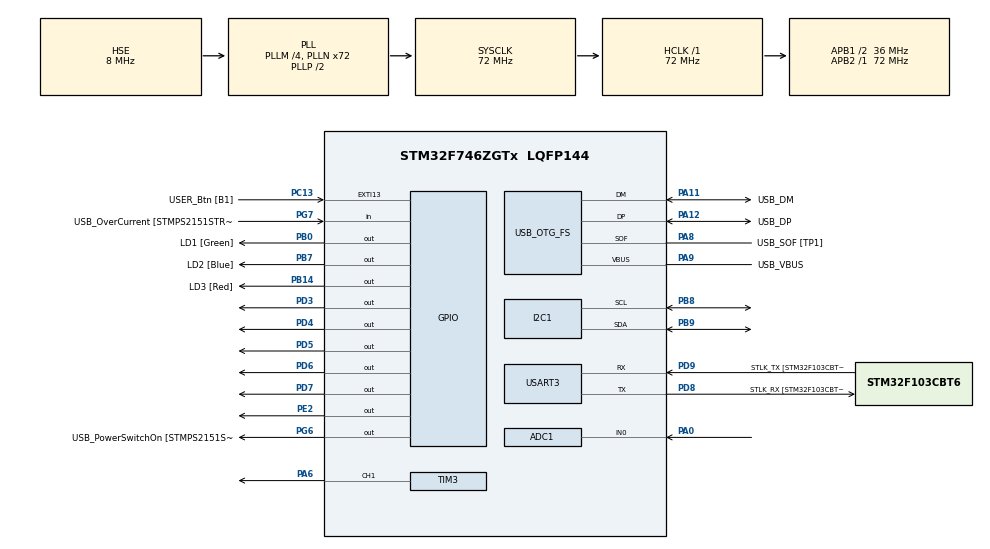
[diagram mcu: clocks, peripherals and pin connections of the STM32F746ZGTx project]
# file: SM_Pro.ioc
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ADC1.Channel-0\#ChannelRegularConversion=ADC_CHANNEL_0
ADC1.NbrOfConversionFlag=1
ADC1.Rank-0\#ChannelRegularConversion=1
ADC1.SamplingTime-0\#ChannelRegularConversion=ADC_SAMPLETIME_3CYCLES
ADC1.master=1
I2C1.Timing=0x00808CD2
Mcu.Family=STM32F7
Mcu.Name=STM32F746ZGTx
Mcu.Package=LQFP144
NVIC.ADC_IRQn=true\:0\:0\:false\:false\:true\:true\:true
NVIC.PriorityGroup=NVIC_PRIORITYGROUP_4
NVIC.TIM3_IRQn=true\:0\:0\:false\:false\:true\:true\:true
NVIC.TIM4_IRQn=true\:0\:0\:false\:false\:true\:true\:true
NVIC.USART3_IRQn=true\:0\:0\:false\:false\:true\:true\:true
PA0/WKUP.Signal=ADCx_IN0
PA1.GPIO_Label=RMII_REF_CLK [LAN8742A-CZ-TR_REFCLK0]
PA1.Signal=ETH_REF_CLK
PA10.GPIO_Label=USB_ID
PA10.Signal=USB_OTG_FS_ID
PA11.GPIO_Label=USB_DM
PA11.Mode=Device_Only
PA11.Signal=USB_OTG_FS_DM
PA12.GPIO_Label=USB_DP
PA12.Mode=Device_Only
PA12.Signal=USB_OTG_FS_DP
PA13.GPIO_Label=TMS
PA13.Mode=Serial_Wire
PA13.Signal=SYS_JTMS-SWDIO
PA14.GPIO_Label=TCK
PA14.Mode=Serial_Wire
PA14.Signal=SYS_JTCK-SWCLK
PA2.GPIO_Label=RMII_MDIO [LAN8742A-CZ-TR_MDIO]
PA2.Signal=ETH_MDIO
PA6.Signal=S_TIM3_CH1
PA7.GPIO_Label=RMII_CRS_DV [LAN8742A-CZ-TR_CRS_DV]
PA7.Signal=ETH_CRS_DV
PA8.GPIO_Label=USB_SOF [TP1]
PA8.Mode=Activate_SOF_FS
PA8.Signal=USB_OTG_FS_SOF
PA9.GPIO_Label=USB_VBUS
PA9.Mode=Activate_VBUS
PA9.Signal=USB_OTG_FS_VBUS
PB0.GPIO_Label=LD1 [Green]
PB0.Signal=GPIO_Output
PB13.GPIO_Label=RMII_TXD1 [LAN8742A-CZ-TR_TXD1]
PB13.Signal=ETH_TXD1
PB14.GPIO_Label=LD3 [Red]
PB14.Signal=GPIO_Output
PB3.GPIO_Label=SW0
PB3.Signal=SYS_JTDO-SWO
PB7.GPIO_Label=LD2 [Blue]
PB7.Signal=GPIO_Output
PB8.Mode=I2C
PB8.Signal=I2C1_SCL
PB9.Mode=I2C
PB9.Signal=I2C1_SDA
PC1.GPIO_Label=RMII_MDC [LAN8742A-CZ-TR_MDC]
PC1.Signal=ETH_MDC
PC13.GPIO_Label=USER_Btn [B1]
PC13.Signal=GPXTI13
PC14/OSC32_IN.Mode=LSE-External-Oscillator
PC14/OSC32_IN.Signal=RCC_OSC32_IN
PC15/OSC32_OUT.Mode=LSE-External-Oscillator
PC15/OSC32_OUT.Signal=RCC_OSC32_OUT
PC4.GPIO_Label=RMII_RXD0 [LAN8742A-CZ-TR_RXD0]
PC4.Signal=ETH_RXD0
PC5.GPIO_Label=RMII_RXD1 [LAN8742A-CZ-TR_RXD1]
PC5.Signal=ETH_RXD1
PD3.Signal=GPIO_Output
PD4.Signal=GPIO_Output
PD5.Signal=GPIO_Output
PD6.Signal=GPIO_Output
PD7.Signal=GPIO_Output
PD8.GPIO_Label=STLK_RX [STM32F103CBT6_PA3]
PD8.Mode=Asynchronous
PD8.Signal=USART3_TX
PD9.GPIO_Label=STLK_TX [STM32F103CBT6_PA2]
PD9.Mode=Asynchronous
PD9.Signal=USART3_RX
PE2.Signal=GPIO_Output
PG11.GPIO_Label=RMII_TX_EN [LAN8742A-CZ-TR_TXEN]
PG11.Signal=ETH_TX_EN
PG13.GPIO_Label=RMII_TXD0 [LAN8742A-CZ-TR_TXD0]
PG13.Signal=ETH_TXD0
PG6.GPIO_Label=USB_PowerSwitchOn [STMPS2151STR_EN]
PG6.Signal=GPIO_Output
PG7.GPIO_Label=USB_OverCurrent [STMPS2151STR_FAULT]
PG7.Signal=GPIO_Input
PH0/OSC_IN.GPIO_Label=MCO [STM32F103CBT6_PA8]
PH0/OSC_IN.Mode=HSE-External-Clock-Source
PH0/OSC_IN.Signal=RCC_OSC_IN
PH1/OSC_OUT.Mode=HSE-External-Clock-Source
PH1/OSC_OUT.Signal=RCC_OSC_OUT
ProjectManager.HeapSize=0x200
ProjectManager.StackSize=0x400
ProjectManager.TargetToolchain=STM32CubeIDE
RCC.48MHZClocksFreq_Value=24000000
RCC.AHBFreq_Value=72000000
RCC.APB1CLKDivider=RCC_HCLK_DIV2
RCC.APB1Freq_Value=36000000
RCC.APB1TimFreq_Value=72000000
RCC.APB2Freq_Value=72000000
RCC.APB2TimFreq_Value=72000000
RCC.CortexFreq_Value=72000000
RCC.HCLKFreq_Value=72000000
RCC.HSE_VALUE=8000000
RCC.HSI_VALUE=16000000
RCC.PLLM=4
RCC.PLLMUL=RCC_PLL_MUL9
RCC.PLLN=72
RCC.PLLQ=3
RCC.PRESCALERUSB=RCC_USBCLKSOURCE_PLL_DIV1_5
RCC.SYSCLKFreq_VALUE=72000000
RCC.SYSCLKSource=RCC_SYSCLKSOURCE_PLLCLK
RCC.SYSCLKSourceVirtual=RCC_SYSCLKSOURCE_PLLCLK
RCC.USBFreq_Value=48000000
RCC.VCOOutputFreq_Value=144000000
SH.ADCx_IN0.0=ADC1_IN0,IN0
SH.S_TIM3_CH1.0=TIM3_CH1,PWM Generation1 CH1
TIM3.Channel-PWM\ Generation1\ CH1=TIM_CHANNEL_1
TIM3.OCPolarity_1=TIM_OCPOLARITY_LOW
TIM3.Period=999
TIM3.Prescaler=71
TIM3.Pulse-PWM\ Generation1\ CH1=0
TIM4.ClockDivision=TIM_CLOCKDIVISION_DIV1
TIM4.Period=1000
TIM4.Prescaler=7199
TIM4.TIM_MasterOutputTrigger=TIM_TRGO_UPDATE
USART3.VirtualMode-Asynchronous=VM_ASYNC
USB_OTG_FS.VirtualMode=Device_Only
VP_TIM3_VS_ClockSourceINT.Mode=Internal
VP_TIM4_VS_ClockSourceINT.Mode=Internal
board=NUCLEO-F746ZG

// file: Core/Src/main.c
/* USER CODE BEGIN Header */
/**
  ******************************************************************************
  * @file           : main.c
  * @brief          : Main program body
  ******************************************************************************
  * @attention
  *
  * <h2><center>&copy; Copyright (c) 2022 STMicroelectronics.
  * All rights reserved.</center></h2>
  *
  * This software component is licensed by ST under BSD 3-Clause license,
  * the "License"; You may not use this file except in compliance with the
  * License. You may obtain a copy of the License at:
  *                        opensource.org/licenses/BSD-3-Clause
  *
  ******************************************************************************
  */
/* USER CODE END Header */
#include "main.h"

/* USER CODE BEGIN Includes */
#include "stdio.h"
#include <math.h>
#include "BMPXX80.h"
#include "PID.h"
#include "lcd.h"
/* USER CODE END Includes */

/* USER CODE BEGIN PM */
#define BMP_I2C 1
#define BMP_SPI 0
//#define BMP_CS_GPIO_Port GPIOB
//#define BMP_CS_Pin GPIO_PIN_9

#define COUNTOF(_BUFFER_) (sizeof((_BUFFER_))/sizeof(*(_BUFFER_)))
//#define temperature_resolution 1
/* USER CODE END PM */

ADC_HandleTypeDef hadc1;

I2C_HandleTypeDef hi2c1;

TIM_HandleTypeDef htim3;
TIM_HandleTypeDef htim4;

UART_HandleTypeDef huart3;

PCD_HandleTypeDef hpcd_USB_OTG_FS;

/* USER CODE BEGIN PV */

const uint8_t VAR_size = 7;
int AdcValue;
uint8_t VAR[7];// = 20;
float wanted_temp = 20;
float wanted_temp_UART = 20;
float wanted_adc = 20;
uint8_t bool = 0;
float temperature = 0;
int32_t pressure = 0;
int start = 0;// HAL_GetTick();
int stop = 0;
int time_past = 0;
PID_STRUCT PID;
Lcd_PortType ports[] = { GPIOD, GPIOD, GPIOD, GPIOD };
Lcd_PinType pins[] = {GPIO_PIN_4, GPIO_PIN_5, GPIO_PIN_6, GPIO_PIN_7};
Lcd_HandleTypeDef lcd;
/* USER CODE END PV */

void SystemClock_Config(void);
static void MX_GPIO_Init(void);
static void MX_USART3_UART_Init(void);
static void MX_USB_OTG_FS_PCD_Init(void);
static void MX_TIM3_Init(void);
static void MX_TIM4_Init(void);
static void MX_I2C1_Init(void);
static void MX_ADC1_Init(void);

/* USER CODE BEGIN 0 */
void convert()
{
	wanted_temp_UART = 0;
	uint8_t point  = 0;
	uint8_t point_num  = 0;
	for(uint8_t i = 0; i < VAR_size; i++)
	{
		if(VAR[i] == 101 )
			break;
		else if(VAR[i] == 44 || VAR[i] == 46)
		{
			point = 1;
			point_num = i;
		}
		else if(47 < VAR[i] && VAR[i] < 58)
		{
			if(point == 0)
				wanted_temp_UART = wanted_temp_UART*10 + (VAR[i]-48);
			else
				wanted_temp_UART = wanted_temp_UART + (VAR[i]-48)*pow(10,point_num-i);
		}
	}
}

float MAP_VALUE(float ValueInMin, float ValueInMax, float ValueOutMin, float ValueOutMax, int ValueIn)
{
	if(((float)ValueIn > ValueInMax )|| ((float)ValueIn< ValueInMin))
		return 0;
	else
		return ((ValueOutMax - ValueOutMin) * ((float)ValueIn - ValueInMin) / (ValueInMax - ValueInMin) + ValueOutMin);
}
/* USER CODE END 0 */

int main(void)
{

  /* MCU Configuration--------------------------------------------------------*/

  /* Reset of all peripherals, Initializes the Flash interface and the Systick. */
  HAL_Init();

  /* Configure the system clock */
  SystemClock_Config();

  /* USER CODE BEGIN SysInit */
//  BMP280_Init(&hi2c1, 1, 3, 2);
//  BMP280_Init(&hi2c1, 1, 3, 3);
  /* USER CODE END SysInit */

  /* Initialize all configured peripherals */
  MX_GPIO_Init();
  MX_USART3_UART_Init();
  MX_USB_OTG_FS_PCD_Init();
  MX_TIM3_Init();
  MX_TIM4_Init();
  MX_I2C1_Init();
  MX_ADC1_Init();
  /* USER CODE BEGIN 2 */
  BMP280_Init(&hi2c1, 1, 3, 1);
  HAL_TIM_PWM_Start(&htim3, TIM_CHANNEL_1);
  HAL_TIM_Base_Start_IT(&htim4);
  HAL_UART_Receive_IT(&huart3, VAR, VAR_size);
  PID_Init(&PID, 0.1,70, 0.1, 0.014);//60 0.02
//  HAL_ADCEx_Calibration_Start(&hadc1);

  lcd = Lcd_create(ports, pins, GPIOE, GPIO_PIN_2, GPIOD, GPIO_PIN_3, LCD_4_BIT_MODE);
  int btn_released = 0;
  int adc_UART= 0;
  /* USER CODE END 2 */

  /* Infinite loop */
  while (1)
     {
         if(HAL_GPIO_ReadPin(USER_Btn_GPIO_Port, USER_Btn_Pin) && btn_released == 0) //wciskasz i sprawdza czy został puszczony, wykona się raz aż puścisz
         {
        	 btn_released = 1;
        	 if(adc_UART == 0)
        		 adc_UART =1;
        	 else
        		 adc_UART = 0;
         }
         else if(!HAL_GPIO_ReadPin(USER_Btn_GPIO_Port, USER_Btn_Pin))
        	 btn_released = 0;

         HAL_ADC_Start(&hadc1);
         HAL_ADC_PollForConversion(&hadc1, HAL_MAX_DELAY);
         AdcValue = HAL_ADC_GetValue(&hadc1);
         float wanted_temp_adc = MAP_VALUE(0, 4095, 30, 60, AdcValue);

         if(adc_UART == 0)
			 wanted_temp = wanted_temp_UART;
		 else
			 wanted_temp = wanted_temp_adc;

         char disp[32];
         Lcd_cursor(&lcd, 0,0);
         Lcd_string(&lcd, "Temp : ");
         sprintf(disp, "%.2f",temperature);
         Lcd_cursor(&lcd, 0,9);
         Lcd_string(&lcd, disp);

         Lcd_cursor(&lcd, 1,0);
         Lcd_string(&lcd, "Zadana : ");
         sprintf(disp, "%.2f",wanted_temp);
         Lcd_cursor(&lcd, 1,9);//9
         Lcd_string(&lcd, disp);
         HAL_Delay(10);
     }
}

void SystemClock_Config(void)
{
  RCC_OscInitTypeDef RCC_OscInitStruct = {0};
  RCC_ClkInitTypeDef RCC_ClkInitStruct = {0};
  RCC_PeriphCLKInitTypeDef PeriphClkInitStruct = {0};

  /** Configure LSE Drive Capability
  */
  HAL_PWR_EnableBkUpAccess();
  /** Configure the main internal regulator output voltage
  */
  __HAL_RCC_PWR_CLK_ENABLE();
  __HAL_PWR_VOLTAGESCALING_CONFIG(PWR_REGULATOR_VOLTAGE_SCALE3);
  /** Initializes the RCC Oscillators according to the specified parameters
  * in the RCC_OscInitTypeDef structure.
  */
  RCC_OscInitStruct.OscillatorType = RCC_OSCILLATORTYPE_HSE;
  RCC_OscInitStruct.HSEState = RCC_HSE_BYPASS;
  RCC_OscInitStruct.PLL.PLLState = RCC_PLL_ON;
  RCC_OscInitStruct.PLL.PLLSource = RCC_PLLSOURCE_HSE;
  RCC_OscInitStruct.PLL.PLLM = 4;
  RCC_OscInitStruct.PLL.PLLN = 72;
  RCC_OscInitStruct.PLL.PLLP = RCC_PLLP_DIV2;
  RCC_OscInitStruct.PLL.PLLQ = 3;
  if (HAL_RCC_OscConfig(&RCC_OscInitStruct) != HAL_OK)
  {
    Error_Handler();
  }
  /** Initializes the CPU, AHB and APB buses clocks
  */
  RCC_ClkInitStruct.ClockType = RCC_CLOCKTYPE_HCLK|RCC_CLOCKTYPE_SYSCLK
                              |RCC_CLOCKTYPE_PCLK1|RCC_CLOCKTYPE_PCLK2;
  RCC_ClkInitStruct.SYSCLKSource = RCC_SYSCLKSOURCE_PLLCLK;
  RCC_ClkInitStruct.AHBCLKDivider = RCC_SYSCLK_DIV1;
  RCC_ClkInitStruct.APB1CLKDivider = RCC_HCLK_DIV2;
  RCC_ClkInitStruct.APB2CLKDivider = RCC_HCLK_DIV1;

  if (HAL_RCC_ClockConfig(&RCC_ClkInitStruct, FLASH_LATENCY_2) != HAL_OK)
  {
    Error_Handler();
  }
  PeriphClkInitStruct.PeriphClockSelection = RCC_PERIPHCLK_USART3|RCC_PERIPHCLK_I2C1
                              |RCC_PERIPHCLK_CLK48;
  PeriphClkInitStruct.Usart3ClockSelection = RCC_USART3CLKSOURCE_PCLK1;
  PeriphClkInitStruct.I2c1ClockSelection = RCC_I2C1CLKSOURCE_PCLK1;
  PeriphClkInitStruct.Clk48ClockSelection = RCC_CLK48SOURCE_PLL;
  if (HAL_RCCEx_PeriphCLKConfig(&PeriphClkInitStruct) != HAL_OK)
  {
    Error_Handler();
  }
}

static void MX_ADC1_Init(void)
{

  ADC_ChannelConfTypeDef sConfig = {0};

  /** Configure the global features of the ADC (Clock, Resolution, Data Alignment and number of conversion)
  */
  hadc1.Instance = ADC1;
  hadc1.Init.ClockPrescaler = ADC_CLOCK_SYNC_PCLK_DIV2;
  hadc1.Init.Resolution = ADC_RESOLUTION_12B;
  hadc1.Init.ScanConvMode = ADC_SCAN_DISABLE;
  hadc1.Init.ContinuousConvMode = DISABLE;
  hadc1.Init.DiscontinuousConvMode = DISABLE;
  hadc1.Init.ExternalTrigConvEdge = ADC_EXTERNALTRIGCONVEDGE_NONE;
  hadc1.Init.ExternalTrigConv = ADC_SOFTWARE_START;
  hadc1.Init.DataAlign = ADC_DATAALIGN_RIGHT;
  hadc1.Init.NbrOfConversion = 1;
  hadc1.Init.DMAContinuousRequests = DISABLE;
  hadc1.Init.EOCSelection = ADC_EOC_SINGLE_CONV;
  if (HAL_ADC_Init(&hadc1) != HAL_OK)
  {
    Error_Handler();
  }
  /** Configure for the selected ADC regular channel its corresponding rank in the sequencer and its sample time.
  */
  sConfig.Channel = ADC_CHANNEL_0;
  sConfig.Rank = ADC_REGULAR_RANK_1;
  sConfig.SamplingTime = ADC_SAMPLETIME_3CYCLES;
  if (HAL_ADC_ConfigChannel(&hadc1, &sConfig) != HAL_OK)
  {
    Error_Handler();
  }

}

static void MX_I2C1_Init(void)
{

  hi2c1.Instance = I2C1;
  hi2c1.Init.Timing = 0x00808CD2;
  hi2c1.Init.OwnAddress1 = 0;
  hi2c1.Init.AddressingMode = I2C_ADDRESSINGMODE_7BIT;
  hi2c1.Init.DualAddressMode = I2C_DUALADDRESS_DISABLE;
  hi2c1.Init.OwnAddress2 = 0;
  hi2c1.Init.OwnAddress2Masks = I2C_OA2_NOMASK;
  hi2c1.Init.GeneralCallMode = I2C_GENERALCALL_DISABLE;
  hi2c1.Init.NoStretchMode = I2C_NOSTRETCH_DISABLE;
  if (HAL_I2C_Init(&hi2c1) != HAL_OK)
  {
    Error_Handler();
  }
  /** Configure Analogue filter
  */
  if (HAL_I2CEx_ConfigAnalogFilter(&hi2c1, I2C_ANALOGFILTER_ENABLE) != HAL_OK)
  {
    Error_Handler();
  }
  /** Configure Digital filter
  */
  if (HAL_I2CEx_ConfigDigitalFilter(&hi2c1, 0) != HAL_OK)
  {
    Error_Handler();
  }

}

static void MX_TIM3_Init(void)
{

  TIM_ClockConfigTypeDef sClockSourceConfig = {0};
  TIM_MasterConfigTypeDef sMasterConfig = {0};
  TIM_OC_InitTypeDef sConfigOC = {0};

  htim3.Instance = TIM3;
  htim3.Init.Prescaler = 71;
  htim3.Init.CounterMode = TIM_COUNTERMODE_UP;
  htim3.Init.Period = 999;
  htim3.Init.ClockDivision = TIM_CLOCKDIVISION_DIV1;
  htim3.Init.AutoReloadPreload = TIM_AUTORELOAD_PRELOAD_DISABLE;
  if (HAL_TIM_Base_Init(&htim3) != HAL_OK)
  {
    Error_Handler();
  }
  sClockSourceConfig.ClockSource = TIM_CLOCKSOURCE_INTERNAL;
  if (HAL_TIM_ConfigClockSource(&htim3, &sClockSourceConfig) != HAL_OK)
  {
    Error_Handler();
  }
  if (HAL_TIM_PWM_Init(&htim3) != HAL_OK)
  {
    Error_Handler();
  }
  sMasterConfig.MasterOutputTrigger = TIM_TRGO_RESET;
  sMasterConfig.MasterSlaveMode = TIM_MASTERSLAVEMODE_DISABLE;
  if (HAL_TIMEx_MasterConfigSynchronization(&htim3, &sMasterConfig) != HAL_OK)
  {
    Error_Handler();
  }
  sConfigOC.OCMode = TIM_OCMODE_PWM1;
  sConfigOC.Pulse = 0;
  sConfigOC.OCPolarity = TIM_OCPOLARITY_LOW;
  sConfigOC.OCFastMode = TIM_OCFAST_DISABLE;
  if (HAL_TIM_PWM_ConfigChannel(&htim3, &sConfigOC, TIM_CHANNEL_1) != HAL_OK)
  {
    Error_Handler();
  }
  HAL_TIM_MspPostInit(&htim3);

}

static void MX_TIM4_Init(void)
{

  TIM_ClockConfigTypeDef sClockSourceConfig = {0};
  TIM_MasterConfigTypeDef sMasterConfig = {0};

  htim4.Instance = TIM4;
  htim4.Init.Prescaler = 7199;
  htim4.Init.CounterMode = TIM_COUNTERMODE_UP;
  htim4.Init.Period = 1000;
  htim4.Init.ClockDivision = TIM_CLOCKDIVISION_DIV1;
  htim4.Init.AutoReloadPreload = TIM_AUTORELOAD_PRELOAD_DISABLE;
  if (HAL_TIM_Base_Init(&htim4) != HAL_OK)
  {
    Error_Handler();
  }
  sClockSourceConfig.ClockSource = TIM_CLOCKSOURCE_INTERNAL;
  if (HAL_TIM_ConfigClockSource(&htim4, &sClockSourceConfig) != HAL_OK)
  {
    Error_Handler();
  }
  sMasterConfig.MasterOutputTrigger = TIM_TRGO_UPDATE;
  sMasterConfig.MasterSlaveMode = TIM_MASTERSLAVEMODE_DISABLE;
  if (HAL_TIMEx_MasterConfigSynchronization(&htim4, &sMasterConfig) != HAL_OK)
  {
    Error_Handler();
  }

}

static void MX_USART3_UART_Init(void)
{

  huart3.Instance = USART3;
  huart3.Init.BaudRate = 115200;
  huart3.Init.WordLength = UART_WORDLENGTH_8B;
  huart3.Init.StopBits = UART_STOPBITS_1;
  huart3.Init.Parity = UART_PARITY_NONE;
  huart3.Init.Mode = UART_MODE_TX_RX;
  huart3.Init.HwFlowCtl = UART_HWCONTROL_NONE;
  huart3.Init.OverSampling = UART_OVERSAMPLING_16;
  huart3.Init.OneBitSampling = UART_ONE_BIT_SAMPLE_DISABLE;
  huart3.AdvancedInit.AdvFeatureInit = UART_ADVFEATURE_NO_INIT;
  if (HAL_UART_Init(&huart3) != HAL_OK)
  {
    Error_Handler();
  }

}

static void MX_USB_OTG_FS_PCD_Init(void)
{

  hpcd_USB_OTG_FS.Instance = USB_OTG_FS;
  hpcd_USB_OTG_FS.Init.dev_endpoints = 6;
  hpcd_USB_OTG_FS.Init.speed = PCD_SPEED_FULL;
  hpcd_USB_OTG_FS.Init.dma_enable = DISABLE;
  hpcd_USB_OTG_FS.Init.phy_itface = PCD_PHY_EMBEDDED;
  hpcd_USB_OTG_FS.Init.Sof_enable = ENABLE;
  hpcd_USB_OTG_FS.Init.low_power_enable = DISABLE;
  hpcd_USB_OTG_FS.Init.lpm_enable = DISABLE;
  hpcd_USB_OTG_FS.Init.vbus_sensing_enable = ENABLE;
  hpcd_USB_OTG_FS.Init.use_dedicated_ep1 = DISABLE;
  if (HAL_PCD_Init(&hpcd_USB_OTG_FS) != HAL_OK)
  {
    Error_Handler();
  }

}

static void MX_GPIO_Init(void)
{
  GPIO_InitTypeDef GPIO_InitStruct = {0};

  /* GPIO Ports Clock Enable */
  __HAL_RCC_GPIOE_CLK_ENABLE();
  __HAL_RCC_GPIOC_CLK_ENABLE();
  __HAL_RCC_GPIOH_CLK_ENABLE();
  __HAL_RCC_GPIOA_CLK_ENABLE();
  __HAL_RCC_GPIOB_CLK_ENABLE();
  __HAL_RCC_GPIOD_CLK_ENABLE();
  __HAL_RCC_GPIOG_CLK_ENABLE();

  /*Configure GPIO pin Output Level */
  HAL_GPIO_WritePin(GPIOE, GPIO_PIN_2, GPIO_PIN_RESET);

  /*Configure GPIO pin Output Level */
  HAL_GPIO_WritePin(GPIOB, LD1_Pin|LD3_Pin|LD2_Pin, GPIO_PIN_RESET);

  /*Configure GPIO pin Output Level */
  HAL_GPIO_WritePin(USB_PowerSwitchOn_GPIO_Port, USB_PowerSwitchOn_Pin, GPIO_PIN_RESET);

  /*Configure GPIO pin Output Level */
  HAL_GPIO_WritePin(GPIOD, GPIO_PIN_3|GPIO_PIN_4|GPIO_PIN_5|GPIO_PIN_6
                          |GPIO_PIN_7, GPIO_PIN_RESET);

  /*Configure GPIO pin : PE2 */
  GPIO_InitStruct.Pin = GPIO_PIN_2;
  GPIO_InitStruct.Mode = GPIO_MODE_OUTPUT_PP;
  GPIO_InitStruct.Pull = GPIO_NOPULL;
  GPIO_InitStruct.Speed = GPIO_SPEED_FREQ_LOW;
  HAL_GPIO_Init(GPIOE, &GPIO_InitStruct);

  /*Configure GPIO pin : USER_Btn_Pin */
  GPIO_InitStruct.Pin = USER_Btn_Pin;
  GPIO_InitStruct.Mode = GPIO_MODE_IT_RISING;
  GPIO_InitStruct.Pull = GPIO_NOPULL;
  HAL_GPIO_Init(USER_Btn_GPIO_Port, &GPIO_InitStruct);

  /*Configure GPIO pins : RMII_MDC_Pin RMII_RXD0_Pin RMII_RXD1_Pin */
  GPIO_InitStruct.Pin = RMII_MDC_Pin|RMII_RXD0_Pin|RMII_RXD1_Pin;
  GPIO_InitStruct.Mode = GPIO_MODE_AF_PP;
  GPIO_InitStruct.Pull = GPIO_NOPULL;
  GPIO_InitStruct.Speed = GPIO_SPEED_FREQ_VERY_HIGH;
  GPIO_InitStruct.Alternate = GPIO_AF11_ETH;
  HAL_GPIO_Init(GPIOC, &GPIO_InitStruct);

  /*Configure GPIO pins : RMII_REF_CLK_Pin RMII_MDIO_Pin RMII_CRS_DV_Pin */
  GPIO_InitStruct.Pin = RMII_REF_CLK_Pin|RMII_MDIO_Pin|RMII_CRS_DV_Pin;
  GPIO_InitStruct.Mode = GPIO_MODE_AF_PP;
  GPIO_InitStruct.Pull = GPIO_NOPULL;
  GPIO_InitStruct.Speed = GPIO_SPEED_FREQ_VERY_HIGH;
  GPIO_InitStruct.Alternate = GPIO_AF11_ETH;
  HAL_GPIO_Init(GPIOA, &GPIO_InitStruct);

  /*Configure GPIO pins : LD1_Pin LD3_Pin LD2_Pin */
  GPIO_InitStruct.Pin = LD1_Pin|LD3_Pin|LD2_Pin;
  GPIO_InitStruct.Mode = GPIO_MODE_OUTPUT_PP;
  GPIO_InitStruct.Pull = GPIO_NOPULL;
  GPIO_InitStruct.Speed = GPIO_SPEED_FREQ_LOW;
  HAL_GPIO_Init(GPIOB, &GPIO_InitStruct);

  /*Configure GPIO pin : RMII_TXD1_Pin */
  GPIO_InitStruct.Pin = RMII_TXD1_Pin;
  GPIO_InitStruct.Mode = GPIO_MODE_AF_PP;
  GPIO_InitStruct.Pull = GPIO_NOPULL;
  GPIO_InitStruct.Speed = GPIO_SPEED_FREQ_VERY_HIGH;
  GPIO_InitStruct.Alternate = GPIO_AF11_ETH;
  HAL_GPIO_Init(RMII_TXD1_GPIO_Port, &GPIO_InitStruct);

  /*Configure GPIO pin : USB_PowerSwitchOn_Pin */
  GPIO_InitStruct.Pin = USB_PowerSwitchOn_Pin;
  GPIO_InitStruct.Mode = GPIO_MODE_OUTPUT_PP;
  GPIO_InitStruct.Pull = GPIO_NOPULL;
  GPIO_InitStruct.Speed = GPIO_SPEED_FREQ_LOW;
  HAL_GPIO_Init(USB_PowerSwitchOn_GPIO_Port, &GPIO_InitStruct);

  /*Configure GPIO pin : USB_OverCurrent_Pin */
  GPIO_InitStruct.Pin = USB_OverCurrent_Pin;
  GPIO_InitStruct.Mode = GPIO_MODE_INPUT;
  GPIO_InitStruct.Pull = GPIO_NOPULL;
  HAL_GPIO_Init(USB_OverCurrent_GPIO_Port, &GPIO_InitStruct);

  /*Configure GPIO pins : PD3 PD4 PD5 PD6
                           PD7 */
  GPIO_InitStruct.Pin = GPIO_PIN_3|GPIO_PIN_4|GPIO_PIN_5|GPIO_PIN_6
                          |GPIO_PIN_7;
  GPIO_InitStruct.Mode = GPIO_MODE_OUTPUT_PP;
  GPIO_InitStruct.Pull = GPIO_NOPULL;
  GPIO_InitStruct.Speed = GPIO_SPEED_FREQ_LOW;
  HAL_GPIO_Init(GPIOD, &GPIO_InitStruct);

  /*Configure GPIO pins : RMII_TX_EN_Pin RMII_TXD0_Pin */
  GPIO_InitStruct.Pin = RMII_TX_EN_Pin|RMII_TXD0_Pin;
  GPIO_InitStruct.Mode = GPIO_MODE_AF_PP;
  GPIO_InitStruct.Pull = GPIO_NOPULL;
  GPIO_InitStruct.Speed = GPIO_SPEED_FREQ_VERY_HIGH;
  GPIO_InitStruct.Alternate = GPIO_AF11_ETH;
  HAL_GPIO_Init(GPIOG, &GPIO_InitStruct);

}

/* USER CODE BEGIN 4 */
void  HAL_UART_RxCpltCallback(UART_HandleTypeDef *huart)
{
	  HAL_UART_Receive_IT(&huart3, VAR, VAR_size);
	  convert();
}
void HAL_TIM_PeriodElapsedCallback(TIM_HandleTypeDef* htim)
{
	static int pulse = 0;
	if(htim ==&htim4)
	{

		HAL_GPIO_TogglePin(GPIOB, LD1_Pin);
		BMP280_ReadTemperatureAndPressure(&temperature, &pressure);
		char data[32];
		int characters_written = sprintf(data, "%f,%i\n",temperature, 100);
		HAL_UART_Transmit(&huart3, (uint8_t*)data, characters_written, 100);

		int u_PID = PID_PWM(&PID, wanted_temp, temperature);

		if(u_PID >1000){
			u_PID = 1000;
			HAL_GPIO_WritePin(GPIOB, LD3_Pin, 1);
			HAL_GPIO_WritePin(GPIOB, LD2_Pin, 0);
		}

		else if(u_PID < 0){
			u_PID = 0;
			HAL_GPIO_WritePin(GPIOB, LD2_Pin, 1);
			HAL_GPIO_WritePin(GPIOB, LD3_Pin, 0);
		}
		else
		{
			HAL_GPIO_WritePin(GPIOB, LD2_Pin, 0);
			HAL_GPIO_WritePin(GPIOB, LD3_Pin, 0);
		}

		pulse = u_PID;

		__HAL_TIM_SET_COMPARE(&htim3, TIM_CHANNEL_1,pulse);
	}
}

/* USER CODE END 4 */

void Error_Handler(void)
{
  __disable_irq();
  while (1)
  {
  }
}

/************************ (C) COPYRIGHT STMicroelectronics *****END OF FILE****/
